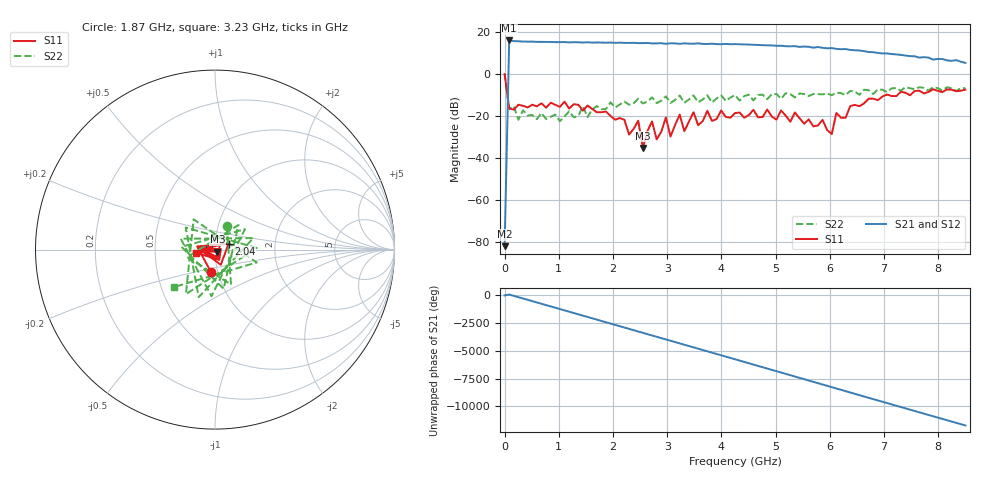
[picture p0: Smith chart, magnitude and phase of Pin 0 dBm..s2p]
! RsaToolbox (C) 2013 Rohde & Schwarz America
! Number of points: 101
! Number of ports: 2
! Balanced ports?: 0
# Hz S RI R 50
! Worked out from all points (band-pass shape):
!   101 points, 9 kHz to 8.5 GHz, reference 50 ohm
!   highest |S21| = 15.97 dB at 85.01 MHz (marker M1); lowest = -81.7 dB at 9 kHz (marker M2)
!   |S21| within 3 dB of the highest: 82.4 MHz to 5.426 GHz (5.344 GHz wide, 194 % of centre); 5.473 GHz to 5.596 GHz (123.6 MHz wide, 2.23 % of centre)
!   lowest |S11| = -35.1 dB at 2.55 GHz (marker M3), VSWR 1.04, Z = 51.3 - j1.19 ohm
!   |S11| at or under -10 dB: 52.14 MHz to 7.029 GHz (6.977 GHz wide, 197 % of centre); 7.088 GHz to 7.245 GHz (156.2 MHz wide, 2.18 % of centre); 7.474464 GHz to 7.483268 GHz (8.804 MHz wide, 0.118 % of centre)
!   |S22| runs from -22.4 to 0.1 dB; largest |S21 - S12| = 0
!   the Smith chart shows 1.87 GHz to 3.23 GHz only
!   S11 on the Smith chart (normalised r, x): 1.87 GHz: 0.93, -0.24; 2.04 GHz: 1.16, +0.08; 3.23 GHz: 0.81, -0.03
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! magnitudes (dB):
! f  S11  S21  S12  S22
! 9 kHz  0.0  -81.7  -81.7  0.1
! 85.01 MHz  -16.3  16.0  16.0  -16.6
! 1.02 GHz  -15.6  15.2  15.2  -22.4
! 1.445 GHz  -17.3  15.0  15.0  -15.3
! 1.87 GHz  -17.8  14.9  14.9  -16.6
! 2.04 GHz  -21.7  14.8  14.8  -15.9
! 2.295 GHz  -28.7  14.8  14.8  -14.6
! 2.465 GHz  -22.2  14.7  14.7  -11.7
! 2.55 GHz  -35.1  14.7  14.7  -14.0
! 2.72 GHz  -22.5  14.6  14.6  -11.1
! 2.89 GHz  -27.4  14.7  14.7  -12.7
! 2.975 GHz  -20.6  14.4  14.4  -10.6
! 3.06 GHz  -29.7  14.6  14.6  -13.7
! 3.23 GHz  -19.3  14.4  14.4  -10.2
! 3.315 GHz  -27.1  14.6  14.6  -13.6
! 3.485 GHz  -18.1  14.4  14.4  -10.2
! 4.25 GHz  -18.5  14.2  14.2  -9.9
! 5.695 GHz  -24.9  12.5  12.5  -9.5
! 6.035 GHz  -28.5  12.3  12.3  -10.0
! 6.12 GHz  -18.5  12.0  12.0  -8.8
! 7.14 GHz  -10.4  9.5  9.5  -6.8
! 8.5 GHz  -7.4  5.3  5.3  -6.7
